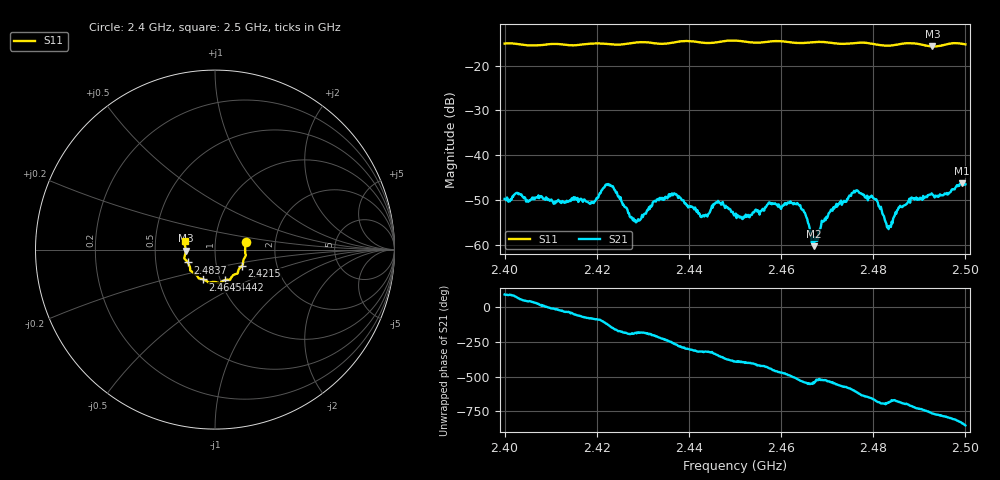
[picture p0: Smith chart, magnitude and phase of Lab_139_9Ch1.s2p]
# Hz S RI R 50
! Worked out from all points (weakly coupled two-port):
!   601 points, 2.4 GHz to 2.5 GHz, reference 50 ohm
!   highest |S21| = -46.27 dB at 2.4992 GHz (marker M1); lowest = -60.3 dB at 2.4672 GHz (marker M2)
!   lowest |S11| = -15.7 dB at 2.4928 GHz (marker M3), VSWR 1.39, Z = 35.9 - j0.383 ohm
!   |S11| at or under -10 dB: start of sweep to end of sweep
!   S12 and S22 are empty: the file has one direction only
!   S11 on the Smith chart (normalised r, x): 2.4 GHz: 1.41, +0.12; 2.4215 GHz: 1.33, -0.25; 2.4442 GHz: 1.05, -0.37; 2.4645 GHz: 0.83, -0.29; 2.4837 GHz: 0.73, -0.11; 2.5 GHz: 0.71, +0.07
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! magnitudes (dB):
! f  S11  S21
! 2.4 GHz  -15.1  -49.8
! 2.4167 GHz  -15.3  -49.8
! 2.4215 GHz  -15.1  -47.3
! 2.4233 GHz  -15.3  -47.0
! 2.4283 GHz  -14.9  -54.5
! 2.4333 GHz  -15.1  -49.8
! 2.4368 GHz  -14.8  -48.5
! 2.4442 GHz  -15.0  -53.2
! 2.4463 GHz  -14.7  -50.2
! 2.45 GHz  -14.4  -53.2
! 2.4645 GHz  -15.0  -52.1
! 2.4667 GHz  -14.8  -59.6
! 2.4672 GHz  -14.8  -60.3
! 2.4708 GHz  -14.9  -52.2
! 2.4762 GHz  -15.0  -48.0
! 2.4805 GHz  -15.3  -49.9
! 2.4833 GHz  -15.6  -56.5
! 2.4837 GHz  -15.5  -55.9
! 2.488 GHz  -15.0  -50.6
! 2.4928 GHz  -15.7  -48.8
! 2.4992 GHz  -15.1  -46.3
! 2.5 GHz  -15.2  -46.5
